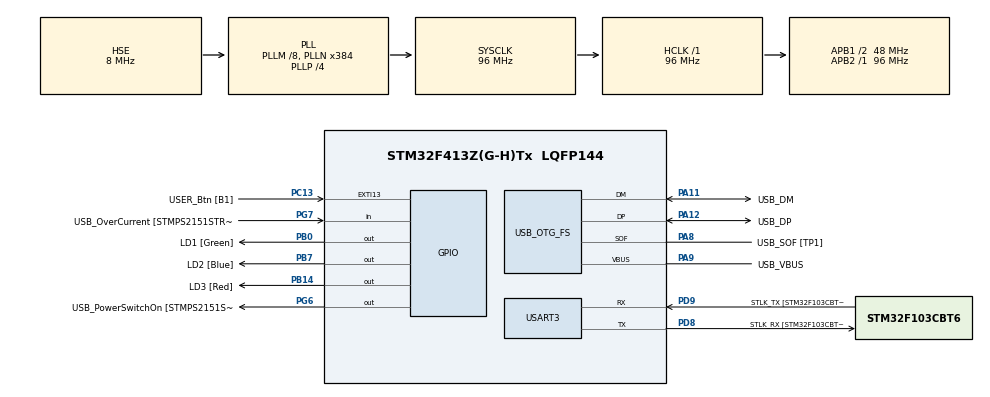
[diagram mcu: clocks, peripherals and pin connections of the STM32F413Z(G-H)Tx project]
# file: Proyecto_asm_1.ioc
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Mcu.Family=STM32F4
Mcu.Name=STM32F413Z(G-H)Tx
Mcu.Package=LQFP144
NVIC.PriorityGroup=NVIC_PRIORITYGROUP_4
PA10.GPIO_Label=USB_ID
PA10.Signal=USB_OTG_FS_ID
PA11.GPIO_Label=USB_DM
PA11.Mode=Device_Only
PA11.Signal=USB_OTG_FS_DM
PA12.GPIO_Label=USB_DP
PA12.Mode=Device_Only
PA12.Signal=USB_OTG_FS_DP
PA13.GPIO_Label=TMS
PA13.Mode=Serial_Wire
PA13.Signal=SYS_JTMS-SWDIO
PA14.GPIO_Label=TCK
PA14.Mode=Serial_Wire
PA14.Signal=SYS_JTCK-SWCLK
PA8.GPIO_Label=USB_SOF [TP1]
PA8.Mode=Activate_SOF_FS
PA8.Signal=USB_OTG_FS_SOF
PA9.GPIO_Label=USB_VBUS
PA9.Mode=Activate_VBUS
PA9.Signal=USB_OTG_FS_VBUS
PB0.GPIO_Label=LD1 [Green]
PB0.Signal=GPIO_Output
PB14.GPIO_Label=LD3 [Red]
PB14.Signal=GPIO_Output
PB3.GPIO_Label=SWO
PB3.Signal=SYS_JTDO-SWO
PB7.GPIO_Label=LD2 [Blue]
PB7.Signal=GPIO_Output
PC13.GPIO_Label=USER_Btn [B1]
PC13.Signal=GPXTI13
PC14-OSC32_IN.Mode=LSE-External-Oscillator
PC14-OSC32_IN.Signal=RCC_OSC32_IN
PC15-OSC32_OUT.Mode=LSE-External-Oscillator
PC15-OSC32_OUT.Signal=RCC_OSC32_OUT
PD8.GPIO_Label=STLK_RX [STM32F103CBT6_PA3]
PD8.Mode=Asynchronous
PD8.Signal=USART3_TX
PD9.GPIO_Label=STLK_TX [STM32F103CBT6_PA2]
PD9.Mode=Asynchronous
PD9.Signal=USART3_RX
PG6.GPIO_Label=USB_PowerSwitchOn [STMPS2151STR_EN]
PG6.Signal=GPIO_Output
PG7.GPIO_Label=USB_OverCurrent [STMPS2151STR_FAULT]
PG7.Signal=GPIO_Input
PH0\ -\ OSC_IN.GPIO_Label=MCO
PH0\ -\ OSC_IN.Mode=HSE-External-Clock-Source
PH0\ -\ OSC_IN.Signal=RCC_OSC_IN
PH1\ -\ OSC_OUT.Mode=HSE-External-Clock-Source
PH1\ -\ OSC_OUT.Signal=RCC_OSC_OUT
ProjectManager.HeapSize=0x200
ProjectManager.StackSize=0x400
ProjectManager.TargetToolchain=STM32CubeIDE
RCC.48MHZClocksFreq_Value=24000000
RCC.AHBFreq_Value=96000000
RCC.APB1CLKDivider=RCC_HCLK_DIV2
RCC.APB1Freq_Value=48000000
RCC.APB1TimFreq_Value=96000000
RCC.APB2Freq_Value=96000000
RCC.APB2TimFreq_Value=96000000
RCC.CortexFreq_Value=96000000
RCC.HCLKFreq_Value=96000000
RCC.HSE_VALUE=8000000
RCC.HSI_VALUE=16000000
RCC.PLLM=8
RCC.PLLMUL=RCC_PLL_MUL9
RCC.PLLN=384
RCC.PLLP=RCC_PLLP_DIV4
RCC.PLLQ=8
RCC.PRESCALERUSB=RCC_USBCLKSOURCE_PLL_DIV1_5
RCC.SYSCLKFreq_VALUE=96000000
RCC.SYSCLKSource=RCC_SYSCLKSOURCE_PLLCLK
RCC.SYSCLKSourceVirtual=RCC_SYSCLKSOURCE_PLLCLK
RCC.USBFreq_Value=48000000
RCC.VCOOutputFreq_Value=384000000
USART3.VirtualMode=VM_ASYNC
USB_OTG_FS.VirtualMode=Device_Only
board=NUCLEO-F413ZH

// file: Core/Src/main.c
/* USER CODE BEGIN Header */
/**
  ******************************************************************************
  * @file           : main.c
  * @brief          : Main program body
  ******************************************************************************
  * @attention
  *
  * Copyright (c) 2023 STMicroelectronics.
  * All rights reserved.
  *
  * This software is licensed under terms that can be found in the LICENSE file
  * in the root directory of this software component.
  * If no LICENSE file comes with this software, it is provided AS-IS.
  *
  ******************************************************************************
  */
/* USER CODE END Header */
#include "main.h"
#include "string.h"
#include "asm_func.h"

UART_HandleTypeDef huart3;

PCD_HandleTypeDef hpcd_USB_OTG_FS;

void SystemClock_Config(void);
static void MX_GPIO_Init(void);
static void MX_USART3_UART_Init(void);
static void MX_USB_OTG_FS_PCD_Init(void);
/* USER CODE BEGIN PFP */

static void PrivilegimodeASM(void);

/* USER CODE END PFP */

int main(void)
{

  /* MCU Configuration--------------------------------------------------------*/

  /* Reset of all peripherals, Initializes the Flash interface and the Systick. */
  HAL_Init();

  /* Configure the system clock */
  SystemClock_Config();

  /* Initialize all configured peripherals */
  MX_GPIO_Init();
  MX_USART3_UART_Init();
  MX_USB_OTG_FS_PCD_Init();
  /* USER CODE BEGIN 2 */

  PrivilegimodeASM();
  uint32_t a, b, c;
  a = 100;
  b = 200;
  c = asm_sum(a, b);

  uint32_t vec[5];
  uint32_t lon = sizeof(vec)/sizeof(vec[0]); //Este cociente me dala longitud del vector
  	  	  	  	  	  	  	  	  	  	  	 //divide el tamaño en bytes de todo el vector
  	  	  	  	  	  	  	  	  	  	  	 //y divide en el tamaño de un elemento del vector
  	  	  	  	  	  	  	  	  	  	  	 //eso me da la cantidad de elementos del vector

  zeros(vec, lon);

  /* USER CODE END 2 */

  /* Infinite loop */
  while (1)
  {

  }
}

void SystemClock_Config(void)
{
  RCC_OscInitTypeDef RCC_OscInitStruct = {0};
  RCC_ClkInitTypeDef RCC_ClkInitStruct = {0};

  /** Configure the main internal regulator output voltage
  */
  __HAL_RCC_PWR_CLK_ENABLE();
  __HAL_PWR_VOLTAGESCALING_CONFIG(PWR_REGULATOR_VOLTAGE_SCALE1);

  /** Initializes the RCC Oscillators according to the specified parameters
  * in the RCC_OscInitTypeDef structure.
  */
  RCC_OscInitStruct.OscillatorType = RCC_OSCILLATORTYPE_HSE;
  RCC_OscInitStruct.HSEState = RCC_HSE_BYPASS;
  RCC_OscInitStruct.PLL.PLLState = RCC_PLL_ON;
  RCC_OscInitStruct.PLL.PLLSource = RCC_PLLSOURCE_HSE;
  RCC_OscInitStruct.PLL.PLLM = 8;
  RCC_OscInitStruct.PLL.PLLN = 384;
  RCC_OscInitStruct.PLL.PLLP = RCC_PLLP_DIV4;
  RCC_OscInitStruct.PLL.PLLQ = 8;
  RCC_OscInitStruct.PLL.PLLR = 2;
  if (HAL_RCC_OscConfig(&RCC_OscInitStruct) != HAL_OK)
  {
    Error_Handler();
  }

  /** Initializes the CPU, AHB and APB buses clocks
  */
  RCC_ClkInitStruct.ClockType = RCC_CLOCKTYPE_HCLK|RCC_CLOCKTYPE_SYSCLK
                              |RCC_CLOCKTYPE_PCLK1|RCC_CLOCKTYPE_PCLK2;
  RCC_ClkInitStruct.SYSCLKSource = RCC_SYSCLKSOURCE_PLLCLK;
  RCC_ClkInitStruct.AHBCLKDivider = RCC_SYSCLK_DIV1;
  RCC_ClkInitStruct.APB1CLKDivider = RCC_HCLK_DIV2;
  RCC_ClkInitStruct.APB2CLKDivider = RCC_HCLK_DIV1;

  if (HAL_RCC_ClockConfig(&RCC_ClkInitStruct, FLASH_LATENCY_3) != HAL_OK)
  {
    Error_Handler();
  }
}

static void MX_USART3_UART_Init(void)
{

  huart3.Instance = USART3;
  huart3.Init.BaudRate = 115200;
  huart3.Init.WordLength = UART_WORDLENGTH_8B;
  huart3.Init.StopBits = UART_STOPBITS_1;
  huart3.Init.Parity = UART_PARITY_NONE;
  huart3.Init.Mode = UART_MODE_TX_RX;
  huart3.Init.HwFlowCtl = UART_HWCONTROL_NONE;
  huart3.Init.OverSampling = UART_OVERSAMPLING_16;
  if (HAL_UART_Init(&huart3) != HAL_OK)
  {
    Error_Handler();
  }

}

static void MX_USB_OTG_FS_PCD_Init(void)
{

  hpcd_USB_OTG_FS.Instance = USB_OTG_FS;
  hpcd_USB_OTG_FS.Init.dev_endpoints = 6;
  hpcd_USB_OTG_FS.Init.speed = PCD_SPEED_FULL;
  hpcd_USB_OTG_FS.Init.dma_enable = DISABLE;
  hpcd_USB_OTG_FS.Init.phy_itface = PCD_PHY_EMBEDDED;
  hpcd_USB_OTG_FS.Init.Sof_enable = ENABLE;
  hpcd_USB_OTG_FS.Init.low_power_enable = DISABLE;
  hpcd_USB_OTG_FS.Init.lpm_enable = DISABLE;
  hpcd_USB_OTG_FS.Init.battery_charging_enable = ENABLE;
  hpcd_USB_OTG_FS.Init.vbus_sensing_enable = ENABLE;
  hpcd_USB_OTG_FS.Init.use_dedicated_ep1 = DISABLE;
  if (HAL_PCD_Init(&hpcd_USB_OTG_FS) != HAL_OK)
  {
    Error_Handler();
  }

}

static void MX_GPIO_Init(void)
{
  GPIO_InitTypeDef GPIO_InitStruct = {0};

  /* GPIO Ports Clock Enable */
  __HAL_RCC_GPIOC_CLK_ENABLE();
  __HAL_RCC_GPIOH_CLK_ENABLE();
  __HAL_RCC_GPIOB_CLK_ENABLE();
  __HAL_RCC_GPIOD_CLK_ENABLE();
  __HAL_RCC_GPIOG_CLK_ENABLE();
  __HAL_RCC_GPIOA_CLK_ENABLE();

  /*Configure GPIO pin Output Level */
  HAL_GPIO_WritePin(GPIOB, LD1_Pin|LD3_Pin|LD2_Pin, GPIO_PIN_RESET);

  /*Configure GPIO pin Output Level */
  HAL_GPIO_WritePin(USB_PowerSwitchOn_GPIO_Port, USB_PowerSwitchOn_Pin, GPIO_PIN_RESET);

  /*Configure GPIO pin : USER_Btn_Pin */
  GPIO_InitStruct.Pin = USER_Btn_Pin;
  GPIO_InitStruct.Mode = GPIO_MODE_IT_RISING;
  GPIO_InitStruct.Pull = GPIO_NOPULL;
  HAL_GPIO_Init(USER_Btn_GPIO_Port, &GPIO_InitStruct);

  /*Configure GPIO pins : LD1_Pin LD3_Pin LD2_Pin */
  GPIO_InitStruct.Pin = LD1_Pin|LD3_Pin|LD2_Pin;
  GPIO_InitStruct.Mode = GPIO_MODE_OUTPUT_PP;
  GPIO_InitStruct.Pull = GPIO_NOPULL;
  GPIO_InitStruct.Speed = GPIO_SPEED_FREQ_LOW;
  HAL_GPIO_Init(GPIOB, &GPIO_InitStruct);

  /*Configure GPIO pin : USB_PowerSwitchOn_Pin */
  GPIO_InitStruct.Pin = USB_PowerSwitchOn_Pin;
  GPIO_InitStruct.Mode = GPIO_MODE_OUTPUT_PP;
  GPIO_InitStruct.Pull = GPIO_NOPULL;
  GPIO_InitStruct.Speed = GPIO_SPEED_FREQ_LOW;
  HAL_GPIO_Init(USB_PowerSwitchOn_GPIO_Port, &GPIO_InitStruct);

  /*Configure GPIO pin : USB_OverCurrent_Pin */
  GPIO_InitStruct.Pin = USB_OverCurrent_Pin;
  GPIO_InitStruct.Mode = GPIO_MODE_INPUT;
  GPIO_InitStruct.Pull = GPIO_NOPULL;
  HAL_GPIO_Init(USB_OverCurrent_GPIO_Port, &GPIO_InitStruct);

}

/* USER CODE BEGIN 4 */

static void PrivilegimodeASM(void)
{
	//Leemos el registro de CONTROL nos deberia dar 0
	uint32_t control = __get_CONTROL();

	control |= 0b01;

	__set_CONTROL(control);

	control = __get_CONTROL();

	control &= ~0b01; //alt + 126 "~"

	asm_svc();

	control = __get_CONTROL();
}

void zeros(uint32_t *vectorIn,uint32_t longitud)
{
	for(uint32_t i = 0; i < longitud; i++)
		vectorIn[i] = 0;
}

/* USER CODE END 4 */

void Error_Handler(void)
{
  __disable_irq();
  while (1)
  {
  }
}
